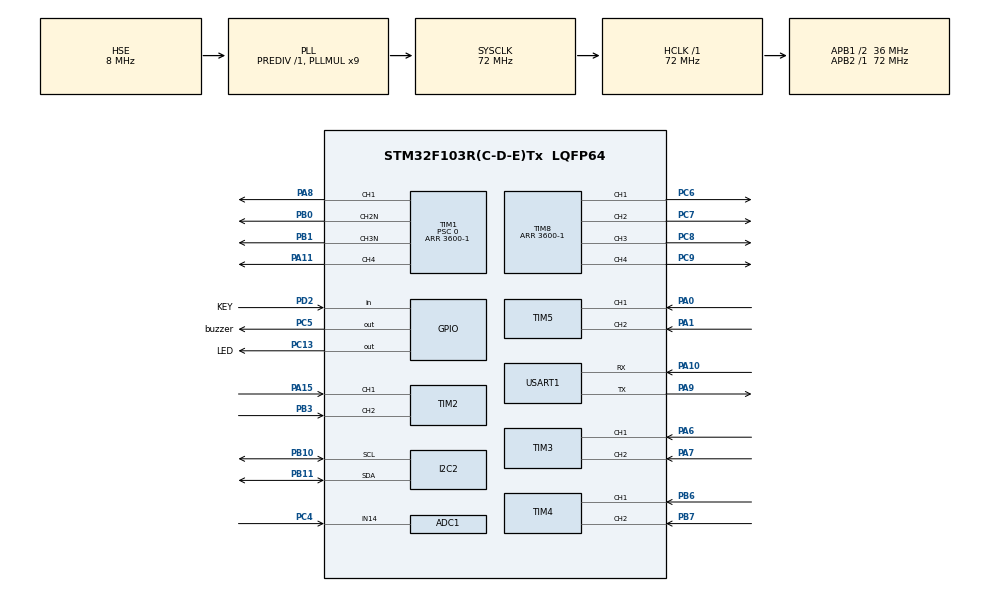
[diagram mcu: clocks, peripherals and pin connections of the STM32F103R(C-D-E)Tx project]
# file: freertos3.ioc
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ADC1.Channel-0\#ChannelRegularConversion=ADC_CHANNEL_14
ADC1.ContinuousConvMode=ENABLE
ADC1.NbrOfConversion=1
ADC1.NbrOfConversionFlag=1
ADC1.Rank-0\#ChannelRegularConversion=1
ADC1.SamplingTime-0\#ChannelRegularConversion=ADC_SAMPLETIME_239CYCLES_5
ADC1.master=1
FREERTOS.Tasks01=defaultTask,24,128,StartDefaultTask,Default,NULL,Dynamic,NULL,NULL
FREERTOS.configUSE_NEWLIB_REENTRANT=1
Mcu.Family=STM32F1
Mcu.Name=STM32F103R(C-D-E)Tx
Mcu.Package=LQFP64
NVIC.PriorityGroup=NVIC_PRIORITYGROUP_4
NVIC.TIM6_IRQn=true\:15\:0\:false\:false\:true\:false\:false\:true\:true
NVIC.TIM7_IRQn=true\:5\:0\:false\:false\:true\:true\:true\:true\:true
NVIC.TimeBase=TIM6_IRQn
NVIC.TimeBaseIP=TIM6
PA0-WKUP.Signal=S_TIM5_CH1
PA1.Signal=S_TIM5_CH2
PA10.Mode=Asynchronous
PA10.Signal=USART1_RX
PA11.Signal=S_TIM1_CH4
PA13.Mode=Serial_Wire
PA13.Signal=SYS_JTMS-SWDIO
PA14.Mode=Serial_Wire
PA14.Signal=SYS_JTCK-SWCLK
PA15.Signal=S_TIM2_CH1_ETR
PA6.Signal=S_TIM3_CH1
PA7.Signal=S_TIM3_CH2
PA8.Signal=S_TIM1_CH1
PA9.Mode=Asynchronous
PA9.Signal=USART1_TX
PB0.Mode=PWM Generation2 CH2N
PB0.Signal=TIM1_CH2N
PB1.Mode=PWM Generation3 CH3N
PB1.Signal=TIM1_CH3N
PB10.Mode=I2C
PB10.Signal=I2C2_SCL
PB11.Mode=I2C
PB11.Signal=I2C2_SDA
PB3.Signal=S_TIM2_CH2
PB6.Signal=S_TIM4_CH1
PB7.Signal=S_TIM4_CH2
PC13-TAMPER-RTC.GPIO_Label=LED
PC13-TAMPER-RTC.Signal=GPIO_Output
PC4.Signal=ADCx_IN14
PC5.GPIO_Label=buzzer
PC5.GPIO_Speed=GPIO_SPEED_FREQ_LOW
PC5.Signal=GPIO_Output
PC6.Signal=S_TIM8_CH1
PC7.Signal=S_TIM8_CH2
PC8.Signal=S_TIM8_CH3
PC9.Signal=S_TIM8_CH4
PD0-OSC_IN.Mode=HSE-External-Oscillator
PD0-OSC_IN.Signal=RCC_OSC_IN
PD1-OSC_OUT.Mode=HSE-External-Oscillator
PD1-OSC_OUT.Signal=RCC_OSC_OUT
PD2.GPIO_Label=KEY
PD2.GPIO_PuPd=GPIO_PULLUP
PD2.Signal=GPIO_Input
ProjectManager.HeapSize=0x200
ProjectManager.StackSize=0x400
ProjectManager.TargetToolchain=STM32CubeIDE
RCC.ADCPresc=RCC_ADCPCLK2_DIV6
RCC.AHBFreq_Value=72000000
RCC.APB1CLKDivider=RCC_HCLK_DIV2
RCC.APB1Freq_Value=36000000
RCC.APB1TimFreq_Value=72000000
RCC.APB2Freq_Value=72000000
RCC.APB2TimFreq_Value=72000000
RCC.HCLKFreq_Value=72000000
RCC.PLLMUL=RCC_PLL_MUL9
RCC.PLLSourceVirtual=RCC_PLLSOURCE_HSE
RCC.SYSCLKFreq_VALUE=72000000
RCC.SYSCLKSource=RCC_SYSCLKSOURCE_PLLCLK
RCC.USBFreq_Value=72000000
SH.ADCx_IN14.0=ADC1_IN14,IN14
SH.S_TIM1_CH1.0=TIM1_CH1,PWM Generation1 CH1
SH.S_TIM1_CH4.0=TIM1_CH4,PWM Generation4 CH4
SH.S_TIM2_CH1_ETR.0=TIM2_CH1,Encoder_Interface
SH.S_TIM2_CH2.0=TIM2_CH2,Encoder_Interface
SH.S_TIM3_CH1.0=TIM3_CH1,Encoder_Interface
SH.S_TIM3_CH2.0=TIM3_CH2,Encoder_Interface
SH.S_TIM4_CH1.0=TIM4_CH1,Encoder_Interface
SH.S_TIM4_CH2.0=TIM4_CH2,Encoder_Interface
SH.S_TIM5_CH1.0=TIM5_CH1,Encoder_Interface
SH.S_TIM5_CH2.0=TIM5_CH2,Encoder_Interface
SH.S_TIM8_CH1.0=TIM8_CH1,Output Compare1 CH1
SH.S_TIM8_CH2.0=TIM8_CH2,PWM Generation2 CH2
SH.S_TIM8_CH3.0=TIM8_CH3,PWM Generation3 CH3
SH.S_TIM8_CH4.0=TIM8_CH4,PWM Generation4 CH4
TIM1.AutoReloadPreload=TIM_AUTORELOAD_PRELOAD_ENABLE
TIM1.Channel-PWM\ Generation1\ CH1=TIM_CHANNEL_1
TIM1.Channel-PWM\ Generation2\ CH2N=TIM_CHANNEL_2
TIM1.Channel-PWM\ Generation3\ CH3N=TIM_CHANNEL_3
TIM1.Channel-PWM\ Generation4\ CH4=TIM_CHANNEL_4
TIM1.Period=3600-1
TIM1.Prescaler=0
TIM3.AutoReloadPreload=TIM_AUTORELOAD_PRELOAD_ENABLE
TIM3.EncoderMode=TIM_ENCODERMODE_TI12
TIM3.IC1Filter=0xf
TIM3.IC2Filter=0xf
TIM7.AutoReloadPreload=TIM_AUTORELOAD_PRELOAD_ENABLE
TIM7.Period=100-1
TIM7.Prescaler=7200-1
TIM8.Channel-Output\ Compare1\ CH1=TIM_CHANNEL_1
TIM8.Channel-PWM\ Generation2\ CH2=TIM_CHANNEL_2
TIM8.Channel-PWM\ Generation3\ CH3=TIM_CHANNEL_3
TIM8.Channel-PWM\ Generation4\ CH4=TIM_CHANNEL_4
TIM8.Period=3600-1
USART1.VirtualMode=VM_ASYNC
VP_FREERTOS_VS_CMSIS_V2.Mode=CMSIS_V2
VP_SYS_VS_tim6.Mode=TIM6
VP_TIM1_VS_ClockSourceINT.Mode=Internal
VP_TIM7_VS_ClockSourceINT.Mode=Enable_Timer
VP_TIM8_VS_ClockSourceINT.Mode=Internal
board=custom

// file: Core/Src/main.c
/* USER CODE BEGIN Header */
/**
  ******************************************************************************
  * @file           : main.c
  * @brief          : Main program body
  ******************************************************************************
  * @attention
  *
  * Copyright (c) 2025 STMicroelectronics.
  * All rights reserved.
  *
  * This software is licensed under terms that can be found in the LICENSE file
  * in the root directory of this software component.
  * If no LICENSE file comes with this software, it is provided AS-IS.
  *
  ******************************************************************************
  */
/* USER CODE END Header */
#include "main.h"
#include "cmsis_os.h"
#include "adc.h"
#include "i2c.h"
#include "tim.h"
#include "usart.h"
#include "gpio.h"

/* USER CODE BEGIN Includes */
#include "freertos_ITF.h"
/* USER CODE END Includes */

void SystemClock_Config(void);
void MX_FREERTOS_Init(void);

int main(void)
{

  /* MCU Configuration--------------------------------------------------------*/

  /* Reset of all peripherals, Initializes the Flash interface and the Systick. */
  HAL_Init();

  /* Configure the system clock */
  SystemClock_Config();

  /* Initialize all configured peripherals */
  MX_GPIO_Init();
  MX_I2C2_Init();
  MX_TIM1_Init();
  MX_TIM8_Init();
  MX_TIM3_Init();
  MX_USART1_UART_Init();
  MX_TIM2_Init();
  MX_TIM4_Init();
  MX_TIM5_Init();
  MX_ADC1_Init();
  MX_TIM7_Init();
  /* USER CODE BEGIN 2 */
    Motor_Init();
    OLED_Init();
    OLED_Clear();
  /* USER CODE END 2 */

  /* Init scheduler */
  osKernelInitialize();

  /* Call init function for freertos objects (in cmsis_os2.c) */
  MX_FREERTOS_Init();

  /* Start scheduler */
  osKernelStart();

  /* We should never get here as control is now taken by the scheduler */

  /* Infinite loop */
    while (1) {

    }
}

void SystemClock_Config(void)
{
  RCC_OscInitTypeDef RCC_OscInitStruct = {0};
  RCC_ClkInitTypeDef RCC_ClkInitStruct = {0};
  RCC_PeriphCLKInitTypeDef PeriphClkInit = {0};

  /** Initializes the RCC Oscillators according to the specified parameters
  * in the RCC_OscInitTypeDef structure.
  */
  RCC_OscInitStruct.OscillatorType = RCC_OSCILLATORTYPE_HSE;
  RCC_OscInitStruct.HSEState = RCC_HSE_ON;
  RCC_OscInitStruct.HSEPredivValue = RCC_HSE_PREDIV_DIV1;
  RCC_OscInitStruct.HSIState = RCC_HSI_ON;
  RCC_OscInitStruct.PLL.PLLState = RCC_PLL_ON;
  RCC_OscInitStruct.PLL.PLLSource = RCC_PLLSOURCE_HSE;
  RCC_OscInitStruct.PLL.PLLMUL = RCC_PLL_MUL9;
  if (HAL_RCC_OscConfig(&RCC_OscInitStruct) != HAL_OK)
  {
    Error_Handler();
  }

  /** Initializes the CPU, AHB and APB buses clocks
  */
  RCC_ClkInitStruct.ClockType = RCC_CLOCKTYPE_HCLK|RCC_CLOCKTYPE_SYSCLK
                              |RCC_CLOCKTYPE_PCLK1|RCC_CLOCKTYPE_PCLK2;
  RCC_ClkInitStruct.SYSCLKSource = RCC_SYSCLKSOURCE_PLLCLK;
  RCC_ClkInitStruct.AHBCLKDivider = RCC_SYSCLK_DIV1;
  RCC_ClkInitStruct.APB1CLKDivider = RCC_HCLK_DIV2;
  RCC_ClkInitStruct.APB2CLKDivider = RCC_HCLK_DIV1;

  if (HAL_RCC_ClockConfig(&RCC_ClkInitStruct, FLASH_LATENCY_2) != HAL_OK)
  {
    Error_Handler();
  }
  PeriphClkInit.PeriphClockSelection = RCC_PERIPHCLK_ADC;
  PeriphClkInit.AdcClockSelection = RCC_ADCPCLK2_DIV6;
  if (HAL_RCCEx_PeriphCLKConfig(&PeriphClkInit) != HAL_OK)
  {
    Error_Handler();
  }
}

void HAL_TIM_PeriodElapsedCallback(TIM_HandleTypeDef *htim)
{
  if (htim->Instance == TIM6) {
    HAL_IncTick();
  }
}

void Error_Handler(void)
{
    __disable_irq();
    while (1) {
    }
}

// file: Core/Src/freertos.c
/* USER CODE BEGIN Header */
/**
  ******************************************************************************
  * File Name          : freertos.c
  * Description        : Code for freertos applications
  ******************************************************************************
  * @attention
  *
  * Copyright (c) 2025 STMicroelectronics.
  * All rights reserved.
  *
  * This software is licensed under terms that can be found in the LICENSE file
  * in the root directory of this software component.
  * If no LICENSE file comes with this software, it is provided AS-IS.
  *
  ******************************************************************************
  */
/* USER CODE END Header */

#include "FreeRTOS.h"
#include "task.h"
#include "main.h"
#include "cmsis_os.h"

/* USER CODE BEGIN Includes */
#include "freertos_ITF.h"
/* USER CODE END Includes */

/* USER CODE BEGIN PTD */
typedef struct {
    uint8_t x;
    uint8_t y;
    char str[16];
} Params;
static Params Task1_Params = {0, 0, "Task1:"};
static Params Task2_Params = {0, 2, "Task2:"};
/* USER CODE END PTD */

/* USER CODE BEGIN Variables */
static int g_status = 1;
/* USER CODE END Variables */
/* Definitions for defaultTask */
osThreadId_t defaultTaskHandle;
const osThreadAttr_t defaultTask_attributes = {
        .name = "defaultTask",
        .stack_size = 128 * 4,
        .priority = (osPriority_t) osPriorityNormal,
};

/* USER CODE BEGIN FunctionPrototypes */
void OLED_Print_Task(void *argument);

/* USER CODE END FunctionPrototypes */

void StartDefaultTask(void *argument);

void MX_FREERTOS_Init(void); /* (MISRA C 2004 rule 8.1) */

void MX_FREERTOS_Init(void) {

    /* Create the thread(s) */
    /* creation of defaultTask */
    defaultTaskHandle = osThreadNew(StartDefaultTask, NULL, &defaultTask_attributes);

    /* USER CODE BEGIN RTOS_THREADS */
    /* add threads, ... */
    xTaskCreate(OLED_Print_Task, "Task1", 128, &Task1_Params, osPriorityNormal, NULL);
    xTaskCreate(OLED_Print_Task, "Task2", 128, &Task2_Params, osPriorityNormal, NULL);
    /* USER CODE END RTOS_THREADS */

}

void StartDefaultTask(void *argument) {
    /* USER CODE BEGIN StartDefaultTask */
    /* Infinite loop */
    for (;;) {
        rtBuzzer_ON_Time();
    }
    /* USER CODE END StartDefaultTask */
}

/* USER CODE BEGIN Application */
void OLED_Print_Task(void *argument) {
    Params *p = argument;
    uint32_t cnt = 0;
    while (1) {
        if (g_status) {
            g_status = 0;
            OLED_ShowStr(p->x, p->y, p->str, 16);
            OLED_ShowNum(p->x + 6 * 8, p->y, cnt, 2, 16);
            cnt++;
            g_status = 1;
        }
        HAL_Delay(500);
    }

}
/* USER CODE END Application */
